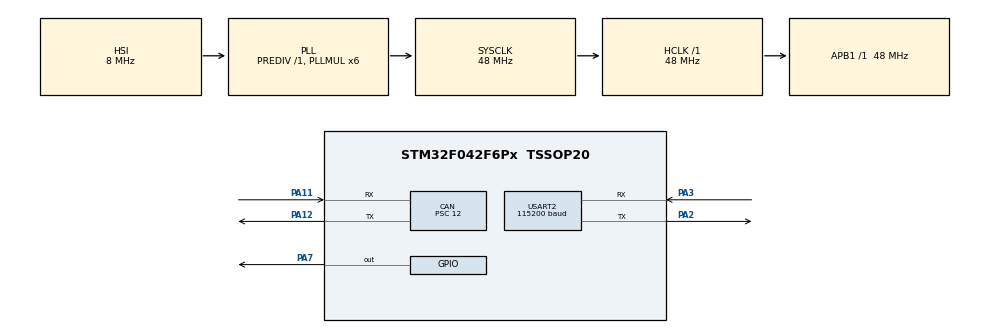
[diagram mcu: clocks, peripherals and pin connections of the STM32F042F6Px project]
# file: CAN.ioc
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CAN.BS1=CAN_BS1_13TQ
CAN.BS2=CAN_BS2_2TQ
CAN.CalculateBaudRate=250000
CAN.CalculateTimeBit=4000
CAN.CalculateTimeQuantum=250.0
CAN.Prescaler=12
CAN.SJW=CAN_SJW_1TQ
Mcu.Family=STM32F0
Mcu.Name=STM32F042F6Px
Mcu.Package=TSSOP20
NVIC.CEC_CAN_IRQn=true\:2\:0\:true\:false\:true\:true\:true\:true
NVIC.TIM1_BRK_UP_TRG_COM_IRQn=true\:2\:0\:true\:false\:true\:true\:true\:true
NVIC.USART2_IRQn=true\:2\:0\:true\:false\:true\:true\:true\:true
PA11.Mode=CAN_Activate
PA11.Signal=CAN_RX
PA12.Mode=CAN_Activate
PA12.Signal=CAN_TX
PA13.Mode=Serial_Wire
PA13.Signal=SYS_SWDIO
PA14.Mode=Serial_Wire
PA14.Signal=SYS_SWCLK
PA2.Mode=Asynchronous
PA2.Signal=USART2_TX
PA3.Mode=Asynchronous
PA3.Signal=USART2_RX
PA7.Signal=GPIO_Output
PF0-OSC_IN.Mode=HSE-External-Oscillator
PF0-OSC_IN.Signal=RCC_OSC_IN
PF1-OSC_OUT.Mode=HSE-External-Oscillator
PF1-OSC_OUT.Signal=RCC_OSC_OUT
ProjectManager.HeapSize=0x200
ProjectManager.StackSize=0x400
ProjectManager.TargetToolchain=STM32CubeIDE
RCC.AHBFreq_Value=48000000
RCC.APB1Freq_Value=48000000
RCC.APB1TimFreq_Value=48000000
RCC.HCLKFreq_Value=48000000
RCC.PLLMUL=RCC_PLL_MUL6
RCC.SYSCLKFreq_VALUE=48000000
RCC.SYSCLKSource=RCC_SYSCLKSOURCE_PLLCLK
TIM1.Period=999
TIM1.Prescaler=47
USART2.BaudRate=115200
USART2.VirtualMode-Asynchronous=VM_ASYNC
VP_SYS_VS_PINREMAP.Mode=PINREMAP
VP_TIM1_VS_ClockSourceINT.Mode=Internal
board=custom

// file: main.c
/* USER CODE BEGIN Header */
/**
  ******************************************************************************
  * @file           : main.c
  * @brief          : Main program body
  ******************************************************************************
  * @attention
  *
  * Copyright (c) 2025 STMicroelectronics.
  * All rights reserved.
  *
  * This software is licensed under terms that can be found in the LICENSE file
  * in the root directory of this software component.
  * If no LICENSE file comes with this software, it is provided AS-IS.
  *
  ******************************************************************************
  */
/* USER CODE END Header */
#include "main.h"
#include "string.h"
#include "stdio.h"

CAN_HandleTypeDef hcan;

TIM_HandleTypeDef htim1;

UART_HandleTypeDef huart2;

/* USER CODE BEGIN PV */
CAN_TxHeaderTypeDef TxHeader;
CAN_RxHeaderTypeDef RxHeader;
uint8_t TxData[8] = {0x00, 0x00, 0x00, 0x00, 0x00, 0x00, 0x00, 0x00};
uint8_t RxData[8];
uint32_t TxMailbox;

uint32_t CAN_ExtIDs[] = {
    0x18D80140,
    0x18900140,
    0x18910140,
	0x18920140,
	0x18930140,
	0x18940140,
	0x18950140,
	0x18960140,
	0x18970140,
	0x18980140,
	0x18990140,
	0x189A0140,
};
uint8_t total_ids = sizeof(CAN_ExtIDs) / sizeof(CAN_ExtIDs[0]);
uint8_t current_index = 0;
uint8_t response_received = 0;
/* USER CODE END PV */

void SystemClock_Config(void);
static void MX_GPIO_Init(void);
static void MX_CAN_Init(void);
static void MX_TIM1_Init(void);
static void MX_USART2_UART_Init(void);
/* USER CODE BEGIN PFP */
void Send_CAN_Message(uint32_t ext_id);
void Process_CAN_Cycle(void);
void UART_Print(char *message);
/* USER CODE END PFP */

int main(void)
{

  /* MCU Configuration--------------------------------------------------------*/

  /* Reset of all peripherals, Initializes the Flash interface and the Systick. */
  HAL_Init();

  /* Configure the system clock */
  SystemClock_Config();

  /* Initialize all configured peripherals */
  MX_GPIO_Init();
  MX_CAN_Init();
  MX_TIM1_Init();
  MX_USART2_UART_Init();
  /* USER CODE BEGIN 2 */
  HAL_CAN_Start(&hcan);
  HAL_CAN_ActivateNotification(&hcan, CAN_IT_RX_FIFO0_MSG_PENDING);

    TxHeader.DLC = 8;
    TxHeader.IDE = CAN_ID_EXT; // Extended ID
    TxHeader.RTR = CAN_RTR_DATA;

  /* USER CODE END 2 */

  /* Infinite loop */
  while (1)
  {

    /* USER CODE BEGIN 3 */
	Process_CAN_Cycle();
	HAL_Delay(1000);  // Delay between each full cycle
  }
  /* USER CODE END 3 */
}

void SystemClock_Config(void)
{
  RCC_OscInitTypeDef RCC_OscInitStruct = {0};
  RCC_ClkInitTypeDef RCC_ClkInitStruct = {0};

  /** Initializes the RCC Oscillators according to the specified parameters
  * in the RCC_OscInitTypeDef structure.
  */
  RCC_OscInitStruct.OscillatorType = RCC_OSCILLATORTYPE_HSI;
  RCC_OscInitStruct.HSIState = RCC_HSI_ON;
  RCC_OscInitStruct.HSICalibrationValue = RCC_HSICALIBRATION_DEFAULT;
  RCC_OscInitStruct.PLL.PLLState = RCC_PLL_ON;
  RCC_OscInitStruct.PLL.PLLSource = RCC_PLLSOURCE_HSI;
  RCC_OscInitStruct.PLL.PLLMUL = RCC_PLL_MUL6;
  RCC_OscInitStruct.PLL.PREDIV = RCC_PREDIV_DIV1;
  if (HAL_RCC_OscConfig(&RCC_OscInitStruct) != HAL_OK)
  {
    Error_Handler();
  }

  /** Initializes the CPU, AHB and APB buses clocks
  */
  RCC_ClkInitStruct.ClockType = RCC_CLOCKTYPE_HCLK|RCC_CLOCKTYPE_SYSCLK
                              |RCC_CLOCKTYPE_PCLK1;
  RCC_ClkInitStruct.SYSCLKSource = RCC_SYSCLKSOURCE_PLLCLK;
  RCC_ClkInitStruct.AHBCLKDivider = RCC_SYSCLK_DIV1;
  RCC_ClkInitStruct.APB1CLKDivider = RCC_HCLK_DIV1;

  if (HAL_RCC_ClockConfig(&RCC_ClkInitStruct, FLASH_LATENCY_1) != HAL_OK)
  {
    Error_Handler();
  }
}

static void MX_CAN_Init(void)
{

  hcan.Instance = CAN;
  hcan.Init.Prescaler = 12;
  hcan.Init.Mode = CAN_MODE_NORMAL;
  hcan.Init.SyncJumpWidth = CAN_SJW_1TQ;
  hcan.Init.TimeSeg1 = CAN_BS1_13TQ;
  hcan.Init.TimeSeg2 = CAN_BS2_2TQ;
  hcan.Init.TimeTriggeredMode = DISABLE;
  hcan.Init.AutoBusOff = DISABLE;
  hcan.Init.AutoWakeUp = DISABLE;
  hcan.Init.AutoRetransmission = DISABLE;
  hcan.Init.ReceiveFifoLocked = DISABLE;
  hcan.Init.TransmitFifoPriority = DISABLE;
  if (HAL_CAN_Init(&hcan) != HAL_OK)
  {
    Error_Handler();
  }

}

static void MX_TIM1_Init(void)
{

  TIM_ClockConfigTypeDef sClockSourceConfig = {0};
  TIM_MasterConfigTypeDef sMasterConfig = {0};

  htim1.Instance = TIM1;
  htim1.Init.Prescaler = 47;
  htim1.Init.CounterMode = TIM_COUNTERMODE_UP;
  htim1.Init.Period = 999;
  htim1.Init.ClockDivision = TIM_CLOCKDIVISION_DIV1;
  htim1.Init.RepetitionCounter = 0;
  htim1.Init.AutoReloadPreload = TIM_AUTORELOAD_PRELOAD_DISABLE;
  if (HAL_TIM_Base_Init(&htim1) != HAL_OK)
  {
    Error_Handler();
  }
  sClockSourceConfig.ClockSource = TIM_CLOCKSOURCE_INTERNAL;
  if (HAL_TIM_ConfigClockSource(&htim1, &sClockSourceConfig) != HAL_OK)
  {
    Error_Handler();
  }
  sMasterConfig.MasterOutputTrigger = TIM_TRGO_RESET;
  sMasterConfig.MasterSlaveMode = TIM_MASTERSLAVEMODE_DISABLE;
  if (HAL_TIMEx_MasterConfigSynchronization(&htim1, &sMasterConfig) != HAL_OK)
  {
    Error_Handler();
  }

}

static void MX_USART2_UART_Init(void)
{

  huart2.Instance = USART2;
  huart2.Init.BaudRate = 115200;
  huart2.Init.WordLength = UART_WORDLENGTH_8B;
  huart2.Init.StopBits = UART_STOPBITS_1;
  huart2.Init.Parity = UART_PARITY_NONE;
  huart2.Init.Mode = UART_MODE_TX_RX;
  huart2.Init.HwFlowCtl = UART_HWCONTROL_NONE;
  huart2.Init.OverSampling = UART_OVERSAMPLING_16;
  huart2.Init.OneBitSampling = UART_ONE_BIT_SAMPLE_DISABLE;
  huart2.AdvancedInit.AdvFeatureInit = UART_ADVFEATURE_NO_INIT;
  if (HAL_UART_Init(&huart2) != HAL_OK)
  {
    Error_Handler();
  }

}

static void MX_GPIO_Init(void)
{
  GPIO_InitTypeDef GPIO_InitStruct = {0};

  /* GPIO Ports Clock Enable */
  __HAL_RCC_GPIOF_CLK_ENABLE();
  __HAL_RCC_GPIOA_CLK_ENABLE();

  /*Configure GPIO pin Output Level */
  HAL_GPIO_WritePin(GPIOA, GPIO_PIN_7, GPIO_PIN_RESET);

  /*Configure GPIO pin : PA7 */
  GPIO_InitStruct.Pin = GPIO_PIN_7;
  GPIO_InitStruct.Mode = GPIO_MODE_OUTPUT_PP;
  GPIO_InitStruct.Pull = GPIO_NOPULL;
  GPIO_InitStruct.Speed = GPIO_SPEED_FREQ_LOW;
  HAL_GPIO_Init(GPIOA, &GPIO_InitStruct);

}

/* USER CODE BEGIN 4 */
/* Function to send data over UART */
void UART_Print(char *message)
{
  HAL_UART_Transmit(&huart2, (uint8_t*)message, strlen(message), HAL_MAX_DELAY);
}

/* Send one CAN message and wait for response */
void Send_CAN_Message(uint32_t ext_id)
{
  TxHeader.ExtId = ext_id;
  char buffer[64];

  if (HAL_CAN_AddTxMessage(&hcan, &TxHeader, TxData, &TxMailbox) != HAL_OK)
  {
    UART_Print("Error: Failed to send CAN message\r\n");
    return;
  }

  sprintf(buffer, "Sent CAN ID: 0x%08lX\r\n", ext_id);
  UART_Print(buffer);
}

/* Loop through all CAN IDs and wait for response */
void Process_CAN_Cycle(void)
{
  for (current_index = 0; current_index < total_ids; current_index++)
  {
    response_received = 0;
    Send_CAN_Message(CAN_ExtIDs[current_index]);

    uint32_t startTick = HAL_GetTick();
    while (!response_received && (HAL_GetTick() - startTick < 500))
    {
      // Waiting for response (max 500 ms)
    }

    if (!response_received)
    {
      UART_Print("No response received.\r\n");
    }
  }
}

/* Callback when message is received */
void HAL_CAN_RxFifo0MsgPendingCallback(CAN_HandleTypeDef *hcan)
{
  if (HAL_CAN_GetRxMessage(hcan, CAN_RX_FIFO0, &RxHeader, RxData) != HAL_OK)
  {
    UART_Print("Error: Failed to get CAN Rx message\r\n");
    return;
  }

  char buffer[128];
  sprintf(buffer, "Received CAN ID: 0x%08lX | Data: ", RxHeader.ExtId);
  UART_Print(buffer);

  for (int i = 0; i < RxHeader.DLC; i++)
  {
    sprintf(buffer, "%02X ", RxData[i]);
    UART_Print(buffer);
  }
  UART_Print("\r\n");

  response_received = 1;
}
/* USER CODE END 4 */

void Error_Handler(void)
{
  __disable_irq();
  while (1)
  {
  }
}
